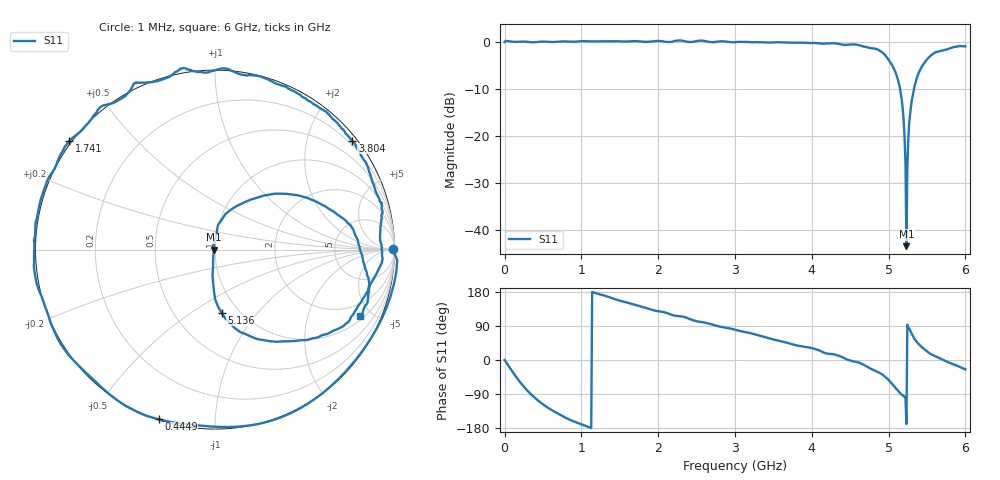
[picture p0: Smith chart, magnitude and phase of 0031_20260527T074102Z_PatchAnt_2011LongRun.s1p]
# Hz S RI R 50
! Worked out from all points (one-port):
!   501 points, 1 MHz to 6 GHz, reference 50 ohm
!   lowest |S11| = -43.4 dB at 5.232 GHz (marker M1), VSWR 1.01, Z = 49.3 - j0.126 ohm
!   |S11| at or under -10 dB: 5.149 GHz to 5.332 GHz (182.6 MHz wide, 3.48 % of centre)
!   S11 on the Smith chart (normalised r, x): 1 MHz: open; 444.9 MHz: 0.00, -0.72; 1.741 GHz: -0.01, +0.33; 3.804 GHz: 0.11, +2.86; 5.136 GHz: 0.83, -0.67; 6 GHz: 1.18, -4.25
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1000000  0.9927 0.000785
8.4986e7  0.9058 -0.4311
2.16964e8  0.4683 -0.8874
3.0095e8  0.1462 -0.985
4.44926e8  -0.3142 -0.945
7.56874e8  -0.8561 -0.5309
1.056824e9  -1.008 -0.1069
1.50075e9  -0.9265 0.4022
1.74071e9  -0.8112 0.605
2.256624e9  -0.4517 0.925
3.0005e9  0.1768 0.9694
3.756374e9  0.7359 0.6395
3.804366e9  0.7649 0.6071
4.308282e9  0.9279 0.231
4.50025e9  0.9309 -0.022
4.872188e9  0.6835 -0.4431
5.028162e9  0.3066 -0.5103
5.136144e9  0.0363 -0.3516
5.184136e9  -0.00956 -0.1942
5.196134e9  -0.0138 -0.146
5.208132e9  -0.011 -0.0953
5.232128e9  -0.0066 -0.00128
5.256124e9  0.00809 0.0868
5.268122e9  0.0162 0.1362
5.292118e9  0.0582 0.1984
5.412098e9  0.3988 0.3107
5.628062e9  0.7715 0.1095
6e9  0.8092 -0.3726
